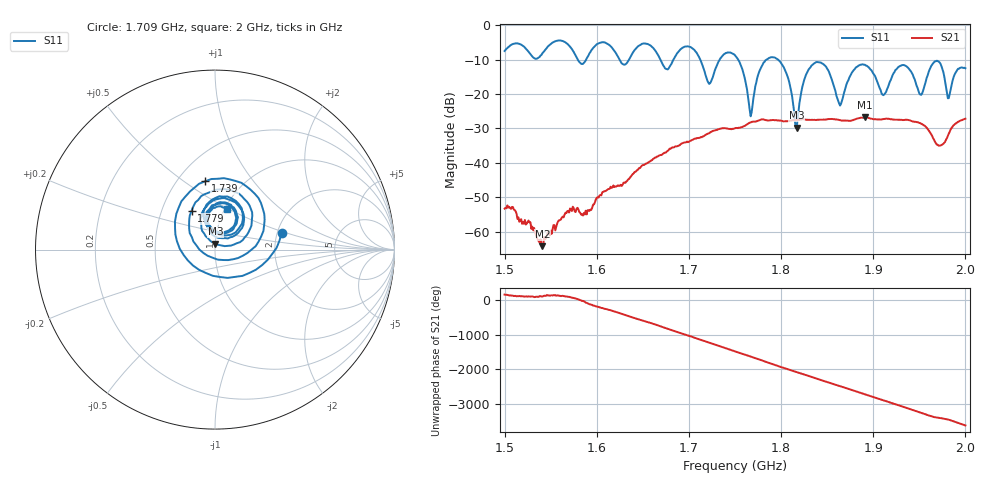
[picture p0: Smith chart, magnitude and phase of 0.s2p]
! NanoVNA-App by SYSJOINT et al v1.1.209 (+OD18)
! Date: 2026-01-21 14:14:49
! Start: 1,5GHz Stop: 2GHz Points: 501
! S-Parameter data: F S11 S21 S12 S22
# Hz S RI R 50
!  Frequency  S11_Real  S11_Imag  S21_Real  S21_Imag  S12_Real  S12_Imag  S22_Real  S22_Imag
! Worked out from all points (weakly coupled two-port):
!   501 points, 1.5 GHz to 2 GHz, reference 50 ohm
!   highest |S21| = -26.83 dB at 1.891 GHz (marker M1); lowest = -64.3 dB at 1.541 GHz (marker M2)
!   lowest |S11| = -29.8 dB at 1.817 GHz (marker M3), VSWR 1.07, Z = 50.2 + j3.23 ohm
!   |S11| at or under -10 dB: 1.712 GHz to 1.733 GHz (21.19 MHz wide, 1.23 % of centre); 1.753 GHz to 1.784 GHz (31.09 MHz wide, 1.76 % of centre); 1.797 GHz to end of sweep (the widest 3 of 6)
!   S12 and S22 are empty: the file has one direction only
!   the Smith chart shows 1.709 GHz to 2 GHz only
!   S11 on the Smith chart (normalised r, x): 1.709 GHz: 2.11, +0.46; 1.739 GHz: 0.68, +0.60; 1.779 GHz: 0.71, +0.33; 2 GHz: 1.02, +0.49
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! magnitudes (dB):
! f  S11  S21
! 1.5 GHz  -7.5  -53.4
! 1.541 GHz  -8.2  -64.3
! 1.584 GHz  -11.3  -55.0
! 1.606 GHz  -5.0  -48.6
! 1.667 GHz  -8.9  -38.0
! 1.709 GHz  -8.3  -32.8
! 1.722 GHz  -17.1  -31.4
! 1.739 GHz  -8.3  -30.0
! 1.75 GHz  -8.8  -29.9
! 1.767 GHz  -26.5  -28.3
! 1.779 GHz  -12.0  -27.4
! 1.801 GHz  -11.5  -27.8
! 1.817 GHz  -29.8  -27.6
! 1.834 GHz  -11.5  -27.5
! 1.864 GHz  -23.4  -27.6
! 1.891 GHz  -11.5  -26.8
! 1.917 GHz  -17.2  -27.2
! 1.934 GHz  -11.7  -27.5
! 1.952 GHz  -20.3  -28.7
! 1.972 GHz  -10.8  -35.0
! 1.982 GHz  -21.2  -31.6
! 2 GHz  -12.5  -27.2
